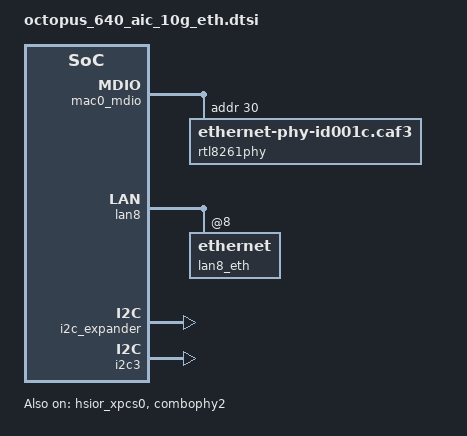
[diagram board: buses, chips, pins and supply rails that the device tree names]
// SPDX-License-Identifier: GPL-2.0
/*
 * Copyright (C) 2024 MaxLinear, Inc.
 */

&mac0_mdio {
	rtl8261phy: ethernet-phy@6 {
		reg = <0x1e>;
		compatible = "ethernet-phy-id001c.caf3", "ethernet-phy-ieee802.3-c45";
		interrupt-parent = <&ioapic1>;
	};
};

&lan8 {
	status = "okay";
	phy = <&rtl8261phy>;
	lan8_eth: ethernet@8 {
		phy-handle = <&rtl8261phy>;
	};
};

&i2c_expander {
	status = "okay";

	/* 10GPHY:B2/3: x, 0,  MoCA:C0/1: 1,x,  GSW140: B0/1  0,x */
	/* select 10GPHY and GSW140 by default */
	analog_sw_sel1 {
		gpio-hog;
		gpios = <3 GPIO_ACTIVE_HIGH>;
		output-low;
		line-name = "analog_sw_sel1";
	};

	analog_sw_sel2 {
		gpio-hog;
		gpios = <4 GPIO_ACTIVE_HIGH>;
		output-low;
		line-name = "analog_sw_sel2";
	};

	/* 0 - 10GPHY,  1 - MOCA,  2 - GSW140 */
	reset_10gphy {
		gpio-hog;
		gpios = <0 GPIO_ACTIVE_HIGH>;
		output-high;
		line-name = "10gphy-reset";
	};
};

&hsior_xpcs0 {
	xpcs-mode = <6>; /* <0> - SGMII, <1> - 1000BaseX, <2> - 2500BaseX, <3> - 5GBaseR, <4> - 10GBaseR, <5> - USXGMII, <6> - 10GKR, <7> - QUSXGMII */
	status = "okay";
};

&pcie20 {
	status = "disabled";
};

&combophy2 { /* PCIe20/21, HSIOR_XPCS0/1, SATA20/21 */
	status = "okay";
};

&i2c3 {
	status = "okay";
};
